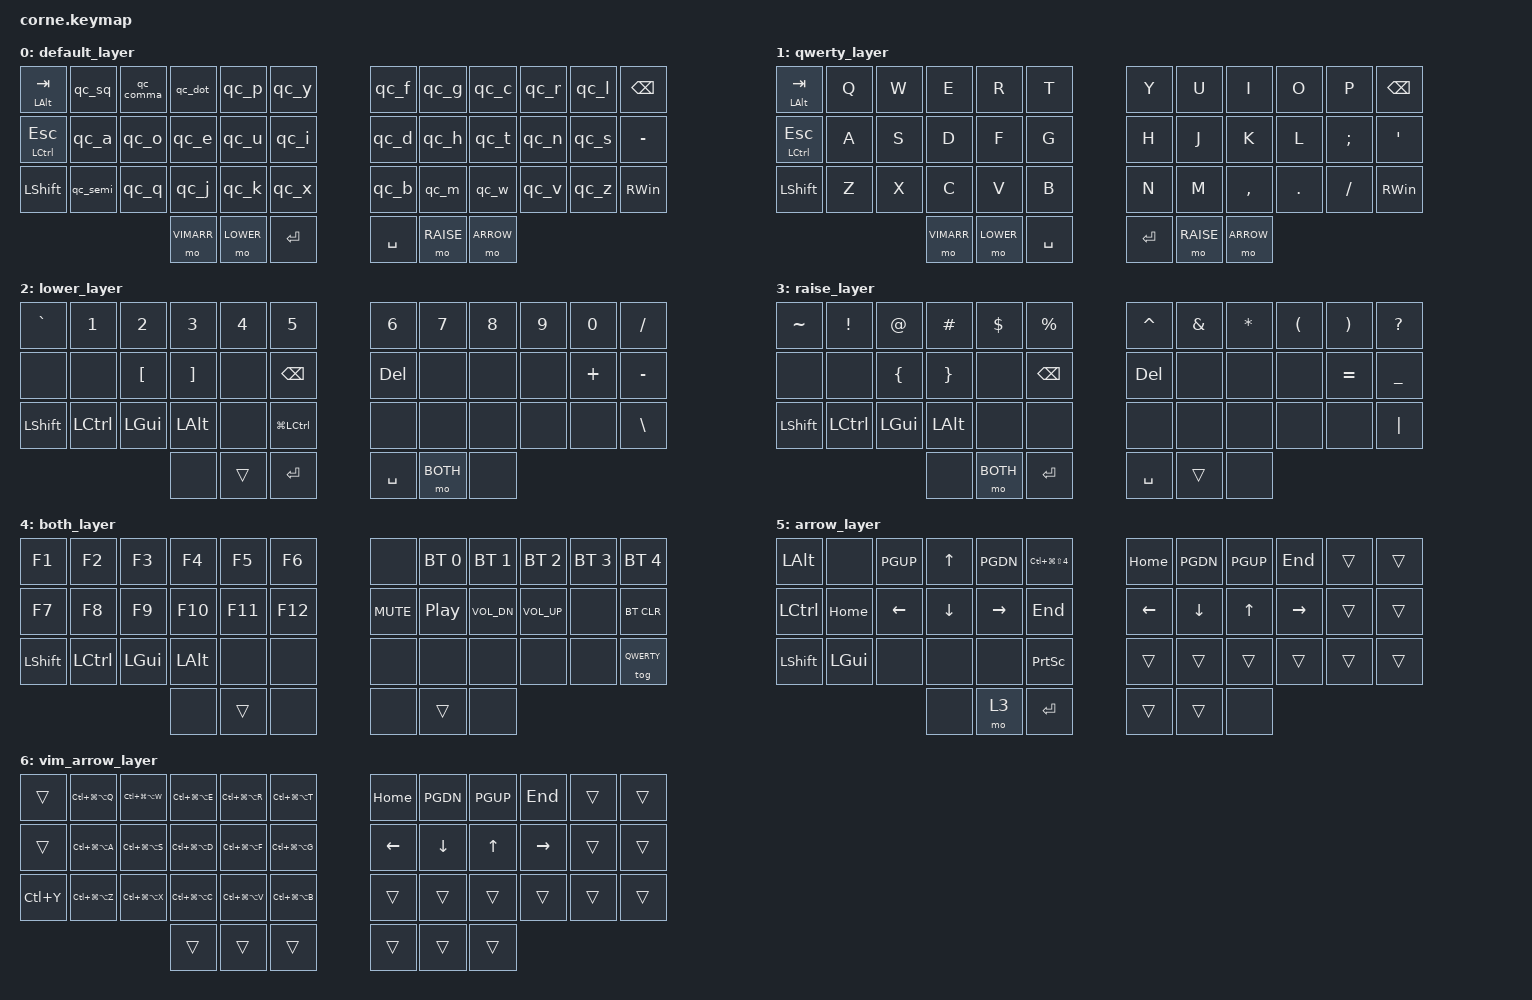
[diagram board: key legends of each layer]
/*
 * Copyright (c) 2020 The ZMK Contributors
 *
 * SPDX-License-Identifier: MIT
 */

#include <behaviors.dtsi>
#include <dt-bindings/zmk/keys.h>
#include <dt-bindings/zmk/bt.h>

#define DVORAK 0
#define QWERTY 1
#define LOWER  2
#define RAISE  3
#define BOTH   4
#define ARROW  5
#define VIMARR 6

&lt {
    tapping-term-ms = <150>;
};

&mt {
    tapping-term-ms = <150>;
};


//  dvorak
//  __________________________________    _________________________
//  | ALT/TAB  |  '  | < | > | P | Y | || | F | G | C | R | L |BSP|
//  | CTRL/ESC |  A  | O | E | U | I | || | D | H | T | N | S | - |
//  | SHFT     |WIN/;| Q | J | K | X | || | B | M | W | V | Z |WIN|
//                       |NUM|LWR|ENT| || |SPC|RSE|ARW|
//  qwerty
//  __________________________________    _________________________
//  | ALT/TAB  | Q | W | E | R | T | | || | Y | U | I | O | P |BSP|
//  | CTRL/ESC | A | S | D | F | G | | || | H | J | K | L | ; | ' |
//  | SHFT     | Z | X | C | V | B | | || | N | M | , | . | / |WIN|
//                       |NUM|LWR|SPC| || |ENT|RSE|ARW|
//           _________________________ || _________________________
//  lower    | ` | 1 | 2 | 3 | 4 | 5 | || | 6 | 7 | 8 | 9 | 0 | / |
//           |   |   | [ | ] |   |BSP| || |DEL|   |   |   | = | - |
//           |SFT|CTL|WIN|ALT|   |   | || |   |   |   |   |   | \ |
//                       |   |---|ENT| || |SPC|LY3|   |
//           _________________________ || _________________________
//  raise    | ~ | ! | @ | # | $ | % | || | ^ | & | * | ( | ) | ? |
//           |   |   | [ | ] |   |BSP| || |DEL|   |   |   | + | _ |
//           |SFT|CTL|WIN|ALT|   |   | || |   |   |   |   |   | | |
//                       |   |LY3|ENT| || |SPC|---| 0 |
//           _________________________ || __________________________
//  both     |F1 |F2 |F3 |F4 |F5 |F6 | || |BTC|BT1|BT2|BT3|BT4|BT5|
//           |F7 |F8 |F9 |F10|F11|F12| || | 🔇| ⏯ | 🔉| 🔊|   |   |
//           |SFT|CTL|WIN|ALT|   |   | || |   |   |   |   |   |   |
//                       |   |---|   | || |   |---|   |
//           _________________________ || _________________________
//  arrow    |   |   |PUP| ↑ |PDN|   | || |   |   |   |   |   |   |
//           |   |HOM| ← | ↓ | → |END| || |   |   |   |   |   |   |
//           |SFT|CTL|WIN|ALT|   |   | || |   |   |   |   |   |   |
//                       |   |   |   | || |   |   |---|
//           _________________________ || _________________________
//  numpad   |   |   |   |   |   |   | || |NLK| * | 7 | 8 | 9 | + |
//           |   |   |   |   |   |   | || |   | / | 4 | 5 | 6 | - |
//           |RED|UND|CUT|CPY|PST|   | || | , | . | 1 | 2 | 3 |ENT|
//                       |---|   |   | || |   |   | 0 |

/ {
    behaviors {
		qc_sq: left_ctrl_sq {
			compatible = "zmk,behavior-mod-morph";
		    #binding-cells = <0>;
			bindings = <&kp SQT>, <&kp Q>;
		    mods = <(MOD_LCTL)>;
			keep-mods = <(MOD_LCTL)>;
		};
		qc_comma: left_ctrl_comma {
			compatible = "zmk,behavior-mod-morph";
		    #binding-cells = <0>;
			bindings = <&kp COMMA>, <&kp W>;
		    mods = <(MOD_LCTL)>;
			keep-mods = <(MOD_LCTL)>;
		};
		qc_dot: left_ctrl_dot {
			compatible = "zmk,behavior-mod-morph";
		    #binding-cells = <0>;
			bindings = <&kp DOT>, <&kp E>;
		    mods = <(MOD_LCTL)>;
			keep-mods = <(MOD_LCTL)>;
		};
		qc_p: left_ctrl_p {
			compatible = "zmk,behavior-mod-morph";
		    #binding-cells = <0>;
			bindings = <&kp P>, <&kp R>;
		    mods = <(MOD_LCTL)>;
			keep-mods = <(MOD_LCTL)>;
		};
		qc_y: left_ctrl_y {
			compatible = "zmk,behavior-mod-morph";
		    #binding-cells = <0>;
			bindings = <&kp Y>, <&kp T>;
		    mods = <(MOD_LCTL)>;
			keep-mods = <(MOD_LCTL)>;
		};
		qc_f: left_ctrl_f {
			compatible = "zmk,behavior-mod-morph";
		    #binding-cells = <0>;
			bindings = <&kp F>, <&kp Y>;
		    mods = <(MOD_LCTL)>;
			keep-mods = <(MOD_LCTL)>;
		};
		qc_g: left_ctrl_g {
			compatible = "zmk,behavior-mod-morph";
		    #binding-cells = <0>;
			bindings = <&kp G>, <&kp U>;
		    mods = <(MOD_LCTL)>;
			keep-mods = <(MOD_LCTL)>;
		};
		qc_c: left_ctrl_c {
			compatible = "zmk,behavior-mod-morph";
		    #binding-cells = <0>;
			bindings = <&kp C>, <&kp I>;
		    mods = <(MOD_LCTL)>;
			keep-mods = <(MOD_LCTL)>;
		};
		qc_r: left_ctrl_r {
			compatible = "zmk,behavior-mod-morph";
		    #binding-cells = <0>;
			bindings = <&kp R>, <&kp O>;
		    mods = <(MOD_LCTL)>;
			keep-mods = <(MOD_LCTL)>;
		};
		qc_l: left_ctrl_l {
			compatible = "zmk,behavior-mod-morph";
		    #binding-cells = <0>;
			bindings = <&kp L>, <&kp P>;
		    mods = <(MOD_LCTL)>;
			keep-mods = <(MOD_LCTL)>;
		};
		qc_a: left_ctrl_a {
			compatible = "zmk,behavior-mod-morph";
		    #binding-cells = <0>;
			bindings = <&kp A>, <&kp A>;
		    mods = <(MOD_LCTL)>;
			keep-mods = <(MOD_LCTL)>;
		};
		qc_o: left_ctrl_o {
			compatible = "zmk,behavior-mod-morph";
		    #binding-cells = <0>;
			bindings = <&kp O>, <&kp S>;
		    mods = <(MOD_LCTL)>;
			keep-mods = <(MOD_LCTL)>;
		};
		qc_e: left_ctrl_e {
			compatible = "zmk,behavior-mod-morph";
		    #binding-cells = <0>;
			bindings = <&kp E>, <&kp D>;
		    mods = <(MOD_LCTL)>;
			keep-mods = <(MOD_LCTL)>;
		};
		qc_u: left_ctrl_u {
			compatible = "zmk,behavior-mod-morph";
		    #binding-cells = <0>;
			bindings = <&kp U>, <&kp F>;
		    mods = <(MOD_LCTL)>;
			keep-mods = <(MOD_LCTL)>;
		};
		qc_i: left_ctrl_i {
			compatible = "zmk,behavior-mod-morph";
		    #binding-cells = <0>;
			bindings = <&kp I>, <&kp G>;
		    mods = <(MOD_LCTL)>;
			keep-mods = <(MOD_LCTL)>;
		};
		qc_d: left_ctrl_d {
			compatible = "zmk,behavior-mod-morph";
		    #binding-cells = <0>;
			bindings = <&kp D>, <&kp H>;
		    mods = <(MOD_LCTL)>;
			keep-mods = <(MOD_LCTL)>;
		};
		qc_h: left_ctrl_h {
			compatible = "zmk,behavior-mod-morph";
		    #binding-cells = <0>;
			bindings = <&kp H>, <&kp J>;
		    mods = <(MOD_LCTL)>;
			keep-mods = <(MOD_LCTL)>;
		};
		qc_t: left_ctrl_t {
			compatible = "zmk,behavior-mod-morph";
		    #binding-cells = <0>;
			bindings = <&kp T>, <&kp K>;
		    mods = <(MOD_LCTL)>;
			keep-mods = <(MOD_LCTL)>;
		};
		qc_n: left_ctrl_n {
			compatible = "zmk,behavior-mod-morph";
		    #binding-cells = <0>;
			bindings = <&kp N>, <&kp L>;
		    mods = <(MOD_LCTL)>;
			keep-mods = <(MOD_LCTL)>;
		};
		qc_s: left_ctrl_s {
			compatible = "zmk,behavior-mod-morph";
		    #binding-cells = <0>;
			bindings = <&kp S>, <&kp SEMI>;
		    mods = <(MOD_LCTL)>;
			keep-mods = <(MOD_LCTL)>;
		};
		qc_minus: left_ctrl_minus {
			compatible = "zmk,behavior-mod-morph";
		    #binding-cells = <0>;
			bindings = <&kp MINUS>, <&kp SQT>;
		    mods = <(MOD_LCTL)>;
			keep-mods = <(MOD_LCTL)>;
		};
		qc_semi: left_ctrl_semi {
			compatible = "zmk,behavior-mod-morph";
		    #binding-cells = <0>;
			bindings = <&mt LWIN SEMI>, <&mt LWIN Z>;
		    mods = <(MOD_LCTL)>;
			keep-mods = <(MOD_LCTL)>;
		};
		qc_q: left_ctrl_q {
			compatible = "zmk,behavior-mod-morph";
		    #binding-cells = <0>;
			bindings = <&kp Q>, <&kp X>;
		    mods = <(MOD_LCTL)>;
			keep-mods = <(MOD_LCTL)>;
		};
		qc_j: left_ctrl_j {
			compatible = "zmk,behavior-mod-morph";
		    #binding-cells = <0>;
			bindings = <&kp J>, <&kp C>;
		    mods = <(MOD_LCTL)>;
			keep-mods = <(MOD_LCTL)>;
		};
		qc_k: left_ctrl_k {
			compatible = "zmk,behavior-mod-morph";
		    #binding-cells = <0>;
			bindings = <&kp K>, <&kp V>;
		    mods = <(MOD_LCTL)>;
			keep-mods = <(MOD_LCTL)>;
		};
		qc_x: left_ctrl_x {
			compatible = "zmk,behavior-mod-morph";
		    #binding-cells = <0>;
			bindings = <&kp X>, <&kp B>;
		    mods = <(MOD_LCTL)>;
			keep-mods = <(MOD_LCTL)>;
		};
		qc_b: left_ctrl_b {
			compatible = "zmk,behavior-mod-morph";
		    #binding-cells = <0>;
			bindings = <&kp B>, <&kp N>;
		    mods = <(MOD_LCTL)>;
			keep-mods = <(MOD_LCTL)>;
		};
		qc_m: left_ctrl_m {
			compatible = "zmk,behavior-mod-morph";
		    #binding-cells = <0>;
			bindings = <&kp M>, <&kp M>;
		    mods = <(MOD_LCTL)>;
			keep-mods = <(MOD_LCTL)>;
		};
		qc_w: left_ctrl_w {
			compatible = "zmk,behavior-mod-morph";
		    #binding-cells = <0>;
			bindings = <&kp W>, <&kp COMMA>;
		    mods = <(MOD_LCTL)>;
			keep-mods = <(MOD_LCTL)>;
		};
		qc_v: left_ctrl_v {
			compatible = "zmk,behavior-mod-morph";
		    #binding-cells = <0>;
			bindings = <&kp V>, <&kp DOT>;
		    mods = <(MOD_LCTL)>;
			keep-mods = <(MOD_LCTL)>;
		};
		qc_z: left_ctrl_z {
			compatible = "zmk,behavior-mod-morph";
		    #binding-cells = <0>;
			bindings = <&kp Z>, <&kp SLASH>;
		    mods = <(MOD_LCTL)>;
			keep-mods = <(MOD_LCTL)>;
		};
	};
    keymap {
        compatible = "zmk,keymap";
        default_layer {
            bindings = <
   &mt LALT TAB   &qc_sq         &qc_comma  &qc_dot     &qc_p      &qc_y        &qc_f      &qc_g      &qc_c      &qc_r       &qc_l         &kp BSPC
   &mt LCTRL ESC  &qc_a          &qc_o      &qc_e       &qc_u      &qc_i        &qc_d      &qc_h      &qc_t      &qc_n       &qc_s         &kp MINUS
   &kp LSHFT      &qc_semi       &qc_q      &qc_j       &qc_k      &qc_x        &qc_b      &qc_m      &qc_w      &qc_v       &qc_z         &kp RWIN
                                            &mo VIMARR  &mo LOWER  &kp ENTER    &kp SPACE  &mo RAISE  &mo ARROW
            >;
        };
        qwerty_layer {
            bindings = <
   &mt LALT TAB   &kp Q     &kp W      &kp E       &kp R      &kp T        &kp Y      &kp U      &kp I      &kp O       &kp P         &kp BSPC
   &mt LCTRL ESC  &kp A     &kp S      &kp D       &kp F      &kp G        &kp H      &kp J      &kp K      &kp L       &kp SEMI      &kp SQT
   &kp LSHFT      &kp Z     &kp X      &kp C       &kp V      &kp B        &kp N      &kp M      &kp COMMA  &kp DOT     &kp SLASH     &kp RWIN
                                       &mo VIMARR  &mo LOWER  &kp SPACE    &kp ENTER  &mo RAISE  &mo ARROW
            >;
        };
        lower_layer {
            bindings = <
   &kp GRAVE      &kp N1       &kp N2    &kp N3       &kp N4     &kp N5           &kp N6     &kp N7    &kp N8     &kp N9       &kp N0      &kp SLASH
   &none          &none        &kp LBKT  &kp RBKT     &none      &kp BSPC         &kp DEL    &none     &none      &none        &kp PLUS    &kp MINUS
   &kp LSHFT    &kp LCTRL      &kp LGUI  &kp LALT     &none      &kp LG(LCTRL)    &none      &none     &none      &none        &none       &kp BACKSLASH
                                            &none     &trans     &kp ENTER        &kp SPACE  &mo BOTH  &none
            >;
        };
        raise_layer {
            bindings = <
   &kp TILDE      &kp EXCL   &kp AT    &kp HASH  &kp DOLLAR  &kp PERCENT  &kp CARET  &kp AMPERSAND  &kp STAR   &kp LPAR  &kp RPAR    &kp QUESTION
   &none          &none      &kp LBRC  &kp RBRC  &none       &kp BSPC     &kp DEL    &none          &none      &none     &kp EQUAL   &kp UNDERSCORE
   &kp LSHFT      &kp LCTRL  &kp LGUI  &kp LALT  &none       &none        &none      &none          &none      &none     &none       &kp PIPE
                                       &none     &mo BOTH    &kp ENTER    &kp SPACE  &trans         &none
            >;
        };
        both_layer {
            bindings = <
   &kp F1     &kp F2      &kp F3    &kp F4    &kp F5   &kp F6        &none        &bt BT_SEL 0  &bt BT_SEL 1  &bt BT_SEL 2  &bt BT_SEL 3  &bt BT_SEL 4
   &kp F7     &kp F8      &kp F9    &kp F10   &kp F11  &kp F12       &kp C_MUTE   &kp C_PP      &kp C_VOL_DN  &kp C_VOL_UP  &none         &bt BT_CLR  
   &kp LSHFT  &kp LCTRL   &kp LGUI  &kp LALT  &none    &none         &none        &none         &none         &none         &none         &tog QWERTY
                                    &none     &trans   &none         &none        &trans        &none                       
            >;
        };
        arrow_layer {
            bindings = <
   &kp LALT         &none          &kp PGUP       &kp UP      &kp PGDN    &kp LC(LG(LS(N4)))    &kp HOME  &kp PGDN  &kp PGUP  &kp END    &trans    &trans
   &kp LCTRL        &kp HOME       &kp LEFT       &kp DOWN    &kp RIGHT   &kp END               &kp LEFT  &kp DOWN  &kp UP    &kp RIGHT  &trans    &trans
   &kp LSHFT        &kp LGUI       &none          &none       &none       &kp PRINTSCREEN       &trans    &trans    &trans    &trans     &trans    &trans
                                                  &none       &mo 3       &kp ENTER             &trans    &trans    &none
            >;
        };
        vim_arrow_layer {
            bindings = <
   &trans     &kp LC(LG(LA(Q)))     &kp LC(LG(LA(W)))    &kp LC(LG(LA(E)))     &kp LC(LG(LA(R)))      &kp LC(LG(LA(T)))    &kp HOME  &kp PGDN  &kp PGUP  &kp END    &trans    &trans
   &trans     &kp LC(LG(LA(A)))     &kp LC(LG(LA(S)))    &kp LC(LG(LA(D)))     &kp LC(LG(LA(F)))      &kp LC(LG(LA(G)))    &kp LEFT  &kp DOWN  &kp UP    &kp RIGHT  &trans    &trans
   &kp LC(Y)  &kp LC(LG(LA(Z)))     &kp LC(LG(LA(X)))    &kp LC(LG(LA(C)))     &kp LC(LG(LA(V)))      &kp LC(LG(LA(B)))    &trans    &trans    &trans    &trans     &trans    &trans
                                                         &trans                &trans                 &trans               &trans    &trans    &trans
            >;
        };
    };
};

